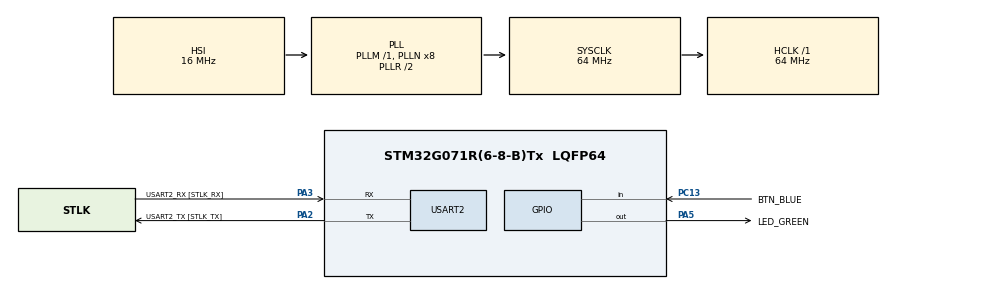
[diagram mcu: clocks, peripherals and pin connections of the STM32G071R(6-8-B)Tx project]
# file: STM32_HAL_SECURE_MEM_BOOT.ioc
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Mcu.Family=STM32G0
Mcu.Name=STM32G071R(6-8-B)Tx
Mcu.Package=LQFP64
PA13.GPIO_Label=TMS
PA13.Mode=Serial_Wire
PA13.Signal=SYS_SWDIO
PA14-BOOT0.GPIO_Label=TCK
PA14-BOOT0.Mode=Serial_Wire
PA14-BOOT0.Signal=SYS_SWCLK
PA2.GPIO_Label=USART2_TX [STLK_TX]
PA2.GPIO_PuPd=GPIO_PULLUP
PA2.Mode=Asynchronous
PA2.Signal=USART2_TX
PA3.GPIO_Label=USART2_RX [STLK_RX]
PA3.GPIO_PuPd=GPIO_PULLUP
PA3.Mode=Asynchronous
PA3.Signal=USART2_RX
PA5.GPIO_Label=LED_GREEN
PA5.GPIO_Speed=GPIO_SPEED_FREQ_HIGH
PA5.Signal=GPIO_Output
PC13.GPIO_Label=BTN_BLUE
PC13.Signal=GPIO_Input
PC14-OSC32_IN\ (PC14).Mode=LSE-External-Oscillator
PC14-OSC32_IN\ (PC14).Signal=RCC_OSC32_IN
PC15-OSC32_OUT\ (PC15).Mode=LSE-External-Oscillator
PC15-OSC32_OUT\ (PC15).Signal=RCC_OSC32_OUT
PF0-OSC_IN\ (PF0).GPIO_Label=MCO
PF0-OSC_IN\ (PF0).Mode=HSE-External-Clock-Source
PF0-OSC_IN\ (PF0).Signal=RCC_OSC_IN
ProjectManager.HeapSize=0x200
ProjectManager.StackSize=0x400
ProjectManager.TargetToolchain=STM32CubeIDE
RCC.ADCFreq_Value=64000000
RCC.AHBFreq_Value=64000000
RCC.CortexFreq_Value=64000000
RCC.EXTERNAL_CLOCK_VALUE=12288000
RCC.HCLKFreq_Value=64000000
RCC.HSE_VALUE=8000000
RCC.HSI_VALUE=16000000
RCC.SYSCLKFreq_VALUE=64000000
RCC.SYSCLKSource=RCC_SYSCLKSOURCE_PLLCLK
RCC.VCOOutputFreq_Value=128000000
USART2.VirtualMode-Asynchronous=VM_ASYNC
VP_SYS_VS_DBSignals.Mode=DisableDeadBatterySignals
board=NUCLEO-G071RB

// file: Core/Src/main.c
/* USER CODE BEGIN Header */
/**
  ******************************************************************************
  * @file           : main.c
  * @brief          : Main program body
  ******************************************************************************
  * @attention
  *
  * Copyright (c) 2022 STMicroelectronics.
  * All rights reserved.
  *
  * This software is licensed under terms that can be found in the LICENSE file
  * in the root directory of this software component.
  * If no LICENSE file comes with this software, it is provided AS-IS.
  *
  ******************************************************************************
  */
/* USER CODE END Header */
#include "main.h"
#include "usart.h"
#include "gpio.h"

/* USER CODE BEGIN Includes */
#include <stdio.h>
/* USER CODE END Includes */

void SystemClock_Config(void);

/* USER CODE BEGIN 0 */

#define BL_EXIT_STICKY  0x1FFF6800      //R0: ExitSecureMemory address
#define MAGIC_NUMBER    0x08192A3C      //R1: magic number
#define APP_ADDRESS     0x8007000       //R2: application address

typedef void (*pFunction)(uint32_t r0, uint32_t r1, uint32_t r2);
pFunction JumpToApplication;
uint32_t JumpAddress;

int __io_putchar (int ch)
{
  HAL_UART_Transmit(&huart2, (uint8_t*)&ch, 1, HAL_MAX_DELAY);
  return ch;
}

/* USER CODE END 0 */

int main(void)
{

  /* MCU Configuration--------------------------------------------------------*/

  /* Reset of all peripherals, Initializes the Flash interface and the Systick. */
  HAL_Init();

  /* Configure the system clock */
  SystemClock_Config();

  /* Initialize all configured peripherals */
  MX_GPIO_Init();
  MX_USART2_UART_Init();
  /* USER CODE BEGIN 2 */

  printf("Bootloader started.\r\n");

  /* USER CODE END 2 */

  /* Infinite loop */
  /* USER CODE BEGIN WHILE */
  while (1)
  {
    //bootloader is blinking slow.
    HAL_GPIO_TogglePin(LED_GREEN_GPIO_Port, LED_GREEN_Pin);
    HAL_Delay(500);

    if(HAL_GPIO_ReadPin(BTN_BLUE_GPIO_Port, BTN_BLUE_Pin) == GPIO_PIN_RESET)
    {
      printf("Jump to ExitSecureMemory.\r\n");

      //jump to ExitSecureMemory
      //RSS will hide secure memory and jump to Application adress
      JumpAddress = *(volatile uint32_t*)(BL_EXIT_STICKY+4);
      JumpToApplication = (pFunction)JumpAddress;
      JumpToApplication(JumpAddress, MAGIC_NUMBER, APP_ADDRESS);
    }

    /* USER CODE END WHILE */

  }
}

void SystemClock_Config(void)
{
  RCC_OscInitTypeDef RCC_OscInitStruct = {0};
  RCC_ClkInitTypeDef RCC_ClkInitStruct = {0};

  /** Configure the main internal regulator output voltage
  */
  HAL_PWREx_ControlVoltageScaling(PWR_REGULATOR_VOLTAGE_SCALE1);

  /** Initializes the RCC Oscillators according to the specified parameters
  * in the RCC_OscInitTypeDef structure.
  */
  RCC_OscInitStruct.OscillatorType = RCC_OSCILLATORTYPE_HSI;
  RCC_OscInitStruct.HSIState = RCC_HSI_ON;
  RCC_OscInitStruct.HSIDiv = RCC_HSI_DIV1;
  RCC_OscInitStruct.HSICalibrationValue = RCC_HSICALIBRATION_DEFAULT;
  RCC_OscInitStruct.PLL.PLLState = RCC_PLL_ON;
  RCC_OscInitStruct.PLL.PLLSource = RCC_PLLSOURCE_HSI;
  RCC_OscInitStruct.PLL.PLLM = RCC_PLLM_DIV1;
  RCC_OscInitStruct.PLL.PLLN = 8;
  RCC_OscInitStruct.PLL.PLLP = RCC_PLLP_DIV2;
  RCC_OscInitStruct.PLL.PLLQ = RCC_PLLQ_DIV2;
  RCC_OscInitStruct.PLL.PLLR = RCC_PLLR_DIV2;
  if (HAL_RCC_OscConfig(&RCC_OscInitStruct) != HAL_OK)
  {
    Error_Handler();
  }

  /** Initializes the CPU, AHB and APB buses clocks
  */
  RCC_ClkInitStruct.ClockType = RCC_CLOCKTYPE_HCLK|RCC_CLOCKTYPE_SYSCLK
                              |RCC_CLOCKTYPE_PCLK1;
  RCC_ClkInitStruct.SYSCLKSource = RCC_SYSCLKSOURCE_PLLCLK;
  RCC_ClkInitStruct.AHBCLKDivider = RCC_SYSCLK_DIV1;
  RCC_ClkInitStruct.APB1CLKDivider = RCC_HCLK_DIV1;

  if (HAL_RCC_ClockConfig(&RCC_ClkInitStruct, FLASH_LATENCY_2) != HAL_OK)
  {
    Error_Handler();
  }
}

void Error_Handler(void)
{
  __disable_irq();
  while (1)
  {
  }
}
